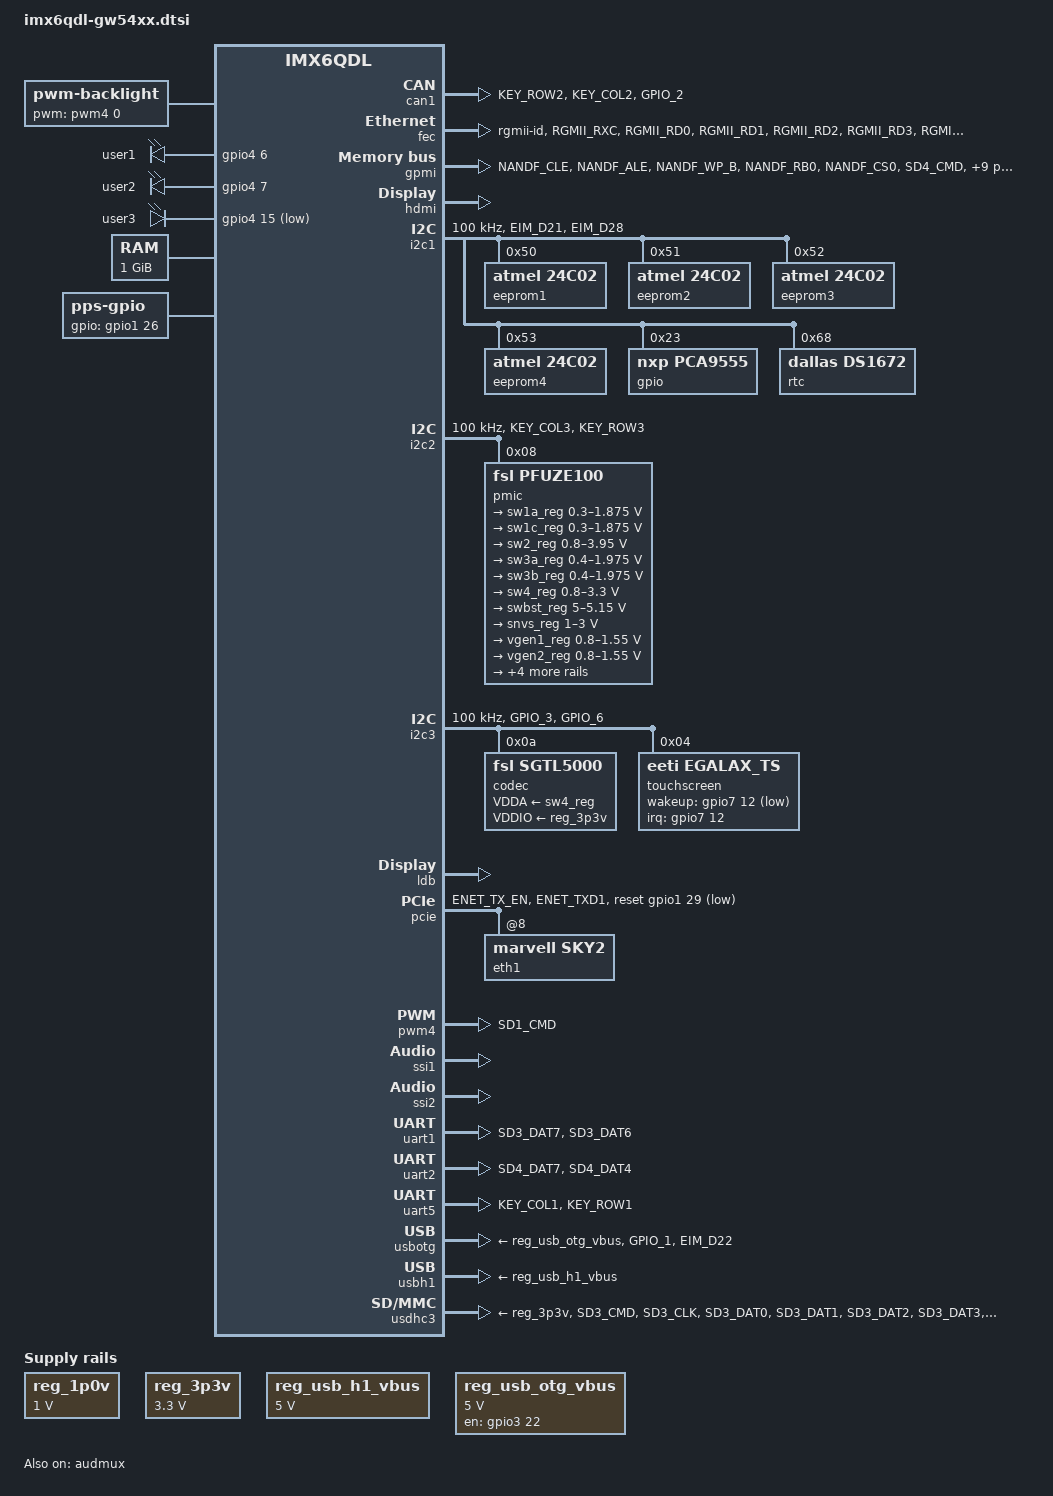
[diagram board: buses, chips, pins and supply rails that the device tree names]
/*
 * Copyright 2013 Gateworks Corporation
 *
 * The code contained herein is licensed under the GNU General Public
 * License. You may obtain a copy of the GNU General Public License
 * Version 2 or later at the following locations:
 *
 * http://www.opensource.org/licenses/gpl-license.html
 * http://www.gnu.org/copyleft/gpl.html
 */

#include <dt-bindings/gpio/gpio.h>

/ {
	/* these are used by bootloader for disabling nodes */
	aliases {
		ethernet1 = &eth1;
		led0 = &led0;
		led1 = &led1;
		led2 = &led2;
		nand = &gpmi;
		ssi0 = &ssi1;
		usb0 = &usbh1;
		usb1 = &usbotg;
	};

	chosen {
		bootargs = "console=ttymxc1,115200";
	};

	backlight {
		compatible = "pwm-backlight";
		pwms = <&pwm4 0 5000000>;
		brightness-levels = <0 4 8 16 32 64 128 255>;
		default-brightness-level = <7>;
	};

	leds {
		compatible = "gpio-leds";
		pinctrl-names = "default";
		pinctrl-0 = <&pinctrl_gpio_leds>;

		led0: user1 {
			label = "user1";
			gpios = <&gpio4 6 GPIO_ACTIVE_HIGH>; /* MX6_PANLEDG */
			default-state = "on";
			linux,default-trigger = "heartbeat";
		};

		led1: user2 {
			label = "user2";
			gpios = <&gpio4 7 GPIO_ACTIVE_HIGH>; /* MX6_PANLEDR */
			default-state = "off";
		};

		led2: user3 {
			label = "user3";
			gpios = <&gpio4 15 GPIO_ACTIVE_LOW>; /* MX6_LOCLED# */
			default-state = "off";
		};
	};

	memory {
		reg = <0x10000000 0x40000000>;
	};

	pps {
		compatible = "pps-gpio";
		pinctrl-names = "default";
		pinctrl-0 = <&pinctrl_pps>;
		gpios = <&gpio1 26 GPIO_ACTIVE_HIGH>;
		status = "okay";
	};

	regulators {
		compatible = "simple-bus";
		#address-cells = <1>;
		#size-cells = <0>;

		reg_1p0v: regulator@0 {
			compatible = "regulator-fixed";
			reg = <0>;
			regulator-name = "1P0V";
			regulator-min-microvolt = <1000000>;
			regulator-max-microvolt = <1000000>;
			regulator-always-on;
		};

		reg_3p3v: regulator@1 {
			compatible = "regulator-fixed";
			reg = <1>;
			regulator-name = "3P3V";
			regulator-min-microvolt = <3300000>;
			regulator-max-microvolt = <3300000>;
			regulator-always-on;
		};

		reg_usb_h1_vbus: regulator@2 {
			compatible = "regulator-fixed";
			reg = <2>;
			regulator-name = "usb_h1_vbus";
			regulator-min-microvolt = <5000000>;
			regulator-max-microvolt = <5000000>;
			regulator-always-on;
		};

		reg_usb_otg_vbus: regulator@3 {
			compatible = "regulator-fixed";
			reg = <3>;
			regulator-name = "usb_otg_vbus";
			regulator-min-microvolt = <5000000>;
			regulator-max-microvolt = <5000000>;
			gpio = <&gpio3 22 GPIO_ACTIVE_HIGH>;
			enable-active-high;
		};
	};

	sound {
		compatible = "fsl,imx6q-ventana-sgtl5000",
			     "fsl,imx-audio-sgtl5000";
		model = "sgtl5000-audio";
		ssi-controller = <&ssi1>;
		audio-codec = <&codec>;
		audio-routing =
			"MIC_IN", "Mic Jack",
			"Mic Jack", "Mic Bias",
			"Headphone Jack", "HP_OUT";
		mux-int-port = <1>;
		mux-ext-port = <4>;
	};
};

&audmux {
	pinctrl-names = "default";
	pinctrl-0 = <&pinctrl_audmux>; /* AUD4<->sgtl5000 */
	status = "okay";
};

&can1 {
	pinctrl-names = "default";
	pinctrl-0 = <&pinctrl_flexcan1>;
	status = "okay";
};

&clks {
	assigned-clocks = <&clks IMX6QDL_CLK_LDB_DI0_SEL>,
	                  <&clks IMX6QDL_CLK_LDB_DI1_SEL>;
	assigned-clock-parents = <&clks IMX6QDL_CLK_PLL3_USB_OTG>,
	                  <&clks IMX6QDL_CLK_PLL3_USB_OTG>;
};

&fec {
	pinctrl-names = "default";
	pinctrl-0 = <&pinctrl_enet>;
	phy-mode = "rgmii-id";
	phy-reset-gpios = <&gpio1 30 GPIO_ACTIVE_LOW>;
	status = "okay";
};

&gpmi {
	pinctrl-names = "default";
	pinctrl-0 = <&pinctrl_gpmi_nand>;
	status = "okay";
};

&hdmi {
	ddc-i2c-bus = <&i2c3>;
	status = "okay";
};

&i2c1 {
	clock-frequency = <100000>;
	pinctrl-names = "default";
	pinctrl-0 = <&pinctrl_i2c1>;
	status = "okay";

	eeprom1: eeprom@50 {
		compatible = "atmel,24c02";
		reg = <0x50>;
		pagesize = <16>;
	};

	eeprom2: eeprom@51 {
		compatible = "atmel,24c02";
		reg = <0x51>;
		pagesize = <16>;
	};

	eeprom3: eeprom@52 {
		compatible = "atmel,24c02";
		reg = <0x52>;
		pagesize = <16>;
	};

	eeprom4: eeprom@53 {
		compatible = "atmel,24c02";
		reg = <0x53>;
		pagesize = <16>;
	};

	gpio: pca9555@23 {
		compatible = "nxp,pca9555";
		reg = <0x23>;
		gpio-controller;
		#gpio-cells = <2>;
	};

	rtc: ds1672@68 {
		compatible = "dallas,ds1672";
		reg = <0x68>;
	};
};

&i2c2 {
	clock-frequency = <100000>;
	pinctrl-names = "default";
	pinctrl-0 = <&pinctrl_i2c2>;
	status = "okay";

	pmic: pfuze100@08 {
		compatible = "fsl,pfuze100";
		reg = <0x08>;

		regulators {
			sw1a_reg: sw1ab {
				regulator-min-microvolt = <300000>;
				regulator-max-microvolt = <1875000>;
				regulator-boot-on;
				regulator-always-on;
				regulator-ramp-delay = <6250>;
			};

			sw1c_reg: sw1c {
				regulator-min-microvolt = <300000>;
				regulator-max-microvolt = <1875000>;
				regulator-boot-on;
				regulator-always-on;
				regulator-ramp-delay = <6250>;
			};

			sw2_reg: sw2 {
				regulator-min-microvolt = <800000>;
				regulator-max-microvolt = <3950000>;
				regulator-boot-on;
				regulator-always-on;
			};

			sw3a_reg: sw3a {
				regulator-min-microvolt = <400000>;
				regulator-max-microvolt = <1975000>;
				regulator-boot-on;
				regulator-always-on;
			};

			sw3b_reg: sw3b {
				regulator-min-microvolt = <400000>;
				regulator-max-microvolt = <1975000>;
				regulator-boot-on;
				regulator-always-on;
			};

			sw4_reg: sw4 {
				regulator-min-microvolt = <800000>;
				regulator-max-microvolt = <3300000>;
			};

			swbst_reg: swbst {
				regulator-min-microvolt = <5000000>;
				regulator-max-microvolt = <5150000>;
				regulator-boot-on;
				regulator-always-on;
			};

			snvs_reg: vsnvs {
				regulator-min-microvolt = <1000000>;
				regulator-max-microvolt = <3000000>;
				regulator-boot-on;
				regulator-always-on;
			};

			vref_reg: vrefddr {
				regulator-boot-on;
				regulator-always-on;
			};

			vgen1_reg: vgen1 {
				regulator-min-microvolt = <800000>;
				regulator-max-microvolt = <1550000>;
			};

			vgen2_reg: vgen2 {
				regulator-min-microvolt = <800000>;
				regulator-max-microvolt = <1550000>;
			};

			vgen3_reg: vgen3 {
				regulator-min-microvolt = <1800000>;
				regulator-max-microvolt = <3300000>;
			};

			vgen4_reg: vgen4 {
				regulator-min-microvolt = <1800000>;
				regulator-max-microvolt = <3300000>;
				regulator-always-on;
			};

			vgen5_reg: vgen5 {
				regulator-min-microvolt = <1800000>;
				regulator-max-microvolt = <3300000>;
				regulator-always-on;
			};

			vgen6_reg: vgen6 {
				regulator-min-microvolt = <1800000>;
				regulator-max-microvolt = <3300000>;
				regulator-always-on;
			};
		};
	};
};

&i2c3 {
	clock-frequency = <100000>;
	pinctrl-names = "default";
	pinctrl-0 = <&pinctrl_i2c3>;
	status = "okay";

	codec: sgtl5000@0a {
		compatible = "fsl,sgtl5000";
		reg = <0x0a>;
		clocks = <&clks IMX6QDL_CLK_CKO>;
		VDDA-supply = <&sw4_reg>;
		VDDIO-supply = <&reg_3p3v>;
	};

	touchscreen: egalax_ts@04 {
		compatible = "eeti,egalax_ts";
		reg = <0x04>;
		interrupt-parent = <&gpio7>;
		interrupts = <12 2>;
		wakeup-gpios = <&gpio7 12 GPIO_ACTIVE_LOW>;
	};
};

&ldb {
	status = "okay";

	lvds-channel@0 {
		fsl,data-mapping = "spwg";
		fsl,data-width = <18>;
		status = "okay";

		display-timings {
			native-mode = <&timing0>;
			timing0: hsd100pxn1 {
				clock-frequency = <65000000>;
				hactive = <1024>;
				vactive = <768>;
				hback-porch = <220>;
				hfront-porch = <40>;
				vback-porch = <21>;
				vfront-porch = <7>;
				hsync-len = <60>;
				vsync-len = <10>;
			};
		};
	};
};

&pcie {
	pinctrl-names = "default";
	pinctrl-0 = <&pinctrl_pcie>;
	reset-gpio = <&gpio1 29 GPIO_ACTIVE_LOW>;
	status = "okay";

	eth1: sky2@8 { /* MAC/PHY on bus 8 */
		compatible = "marvell,sky2";
	};
};

&pwm1 {
	pinctrl-names = "default";
	pinctrl-0 = <&pinctrl_pwm1>; /* MX6_DIO0 */
	status = "disabled";
};

&pwm2 {
	pinctrl-names = "default";
	pinctrl-0 = <&pinctrl_pwm2>; /* MX6_DIO1 */
	status = "disabled";
};

&pwm3 {
	pinctrl-names = "default";
	pinctrl-0 = <&pinctrl_pwm3>; /* MX6_DIO2 */
	status = "disabled";
};

&pwm4 {
	pinctrl-names = "default", "state_dio";
	pinctrl-0 = <&pinctrl_pwm4_backlight>;
	pinctrl-1 = <&pinctrl_pwm4_dio>;
	status = "okay";
};

&ssi1 {
	status = "okay";
};

&ssi2 {
	status = "okay";
};

&uart1 {
	pinctrl-names = "default";
	pinctrl-0 = <&pinctrl_uart1>;
	status = "okay";
};

&uart2 {
	pinctrl-names = "default";
	pinctrl-0 = <&pinctrl_uart2>;
	status = "okay";
};

&uart5 {
	pinctrl-names = "default";
	pinctrl-0 = <&pinctrl_uart5>;
	status = "okay";
};

&usbotg {
	vbus-supply = <&reg_usb_otg_vbus>;
	pinctrl-names = "default";
	pinctrl-0 = <&pinctrl_usbotg>;
	disable-over-current;
	status = "okay";
};

&usbh1 {
	vbus-supply = <&reg_usb_h1_vbus>;
	status = "okay";
};

&usdhc3 {
	pinctrl-names = "default", "state_100mhz", "state_200mhz";
	pinctrl-0 = <&pinctrl_usdhc3>;
	pinctrl-1 = <&pinctrl_usdhc3_100mhz>;
	pinctrl-2 = <&pinctrl_usdhc3_200mhz>;
	cd-gpios = <&gpio7 0 GPIO_ACTIVE_LOW>;
	vmmc-supply = <&reg_3p3v>;
	no-1-8-v; /* firmware will remove if board revision supports */
	status = "okay";
};

&iomuxc {
	imx6qdl-gw54xx {
		pinctrl_audmux: audmuxgrp {
			fsl,pins = <
				MX6QDL_PAD_SD2_DAT0__AUD4_RXD		0x130b0
				MX6QDL_PAD_SD2_DAT3__AUD4_TXC		0x130b0
				MX6QDL_PAD_SD2_DAT2__AUD4_TXD		0x110b0
				MX6QDL_PAD_SD2_DAT1__AUD4_TXFS		0x130b0
				MX6QDL_PAD_GPIO_0__CCM_CLKO1		0x130b0 /* AUD4_MCK */
			>;
		};

		pinctrl_enet: enetgrp {
			fsl,pins = <
				MX6QDL_PAD_RGMII_RXC__RGMII_RXC		0x1b0b0
				MX6QDL_PAD_RGMII_RD0__RGMII_RD0		0x1b0b0
				MX6QDL_PAD_RGMII_RD1__RGMII_RD1		0x1b0b0
				MX6QDL_PAD_RGMII_RD2__RGMII_RD2		0x1b0b0
				MX6QDL_PAD_RGMII_RD3__RGMII_RD3		0x1b0b0
				MX6QDL_PAD_RGMII_RX_CTL__RGMII_RX_CTL	0x1b0b0
				MX6QDL_PAD_RGMII_TXC__RGMII_TXC		0x1b0b0
				MX6QDL_PAD_RGMII_TD0__RGMII_TD0		0x1b0b0
				MX6QDL_PAD_RGMII_TD1__RGMII_TD1		0x1b0b0
				MX6QDL_PAD_RGMII_TD2__RGMII_TD2		0x1b0b0
				MX6QDL_PAD_RGMII_TD3__RGMII_TD3		0x1b0b0
				MX6QDL_PAD_RGMII_TX_CTL__RGMII_TX_CTL	0x1b0b0
				MX6QDL_PAD_ENET_REF_CLK__ENET_TX_CLK	0x1b0b0
				MX6QDL_PAD_ENET_MDIO__ENET_MDIO		0x1b0b0
				MX6QDL_PAD_ENET_MDC__ENET_MDC		0x1b0b0
				MX6QDL_PAD_GPIO_16__ENET_REF_CLK	0x4001b0a8
			>;
		};

		pinctrl_flexcan1: flexcan1grp {
			fsl,pins = <
				MX6QDL_PAD_KEY_ROW2__FLEXCAN1_RX	0x1b0b1
				MX6QDL_PAD_KEY_COL2__FLEXCAN1_TX	0x1b0b1
				MX6QDL_PAD_GPIO_2__GPIO1_IO02		0x4001b0b0 /* CAN_STBY */
			>;
		};

		pinctrl_gpio_leds: gpioledsgrp {
			fsl,pins = <
				MX6QDL_PAD_KEY_COL0__GPIO4_IO06		0x1b0b0
				MX6QDL_PAD_KEY_ROW0__GPIO4_IO07		0x1b0b0
				MX6QDL_PAD_KEY_ROW4__GPIO4_IO15		0x1b0b0
			>;
		};

		pinctrl_gpmi_nand: gpminandgrp {
			fsl,pins = <
				MX6QDL_PAD_NANDF_CLE__NAND_CLE		0xb0b1
				MX6QDL_PAD_NANDF_ALE__NAND_ALE		0xb0b1
				MX6QDL_PAD_NANDF_WP_B__NAND_WP_B	0xb0b1
				MX6QDL_PAD_NANDF_RB0__NAND_READY_B	0xb000
				MX6QDL_PAD_NANDF_CS0__NAND_CE0_B	0xb0b1
				MX6QDL_PAD_SD4_CMD__NAND_RE_B		0xb0b1
				MX6QDL_PAD_SD4_CLK__NAND_WE_B		0xb0b1
				MX6QDL_PAD_NANDF_D0__NAND_DATA00	0xb0b1
				MX6QDL_PAD_NANDF_D1__NAND_DATA01	0xb0b1
				MX6QDL_PAD_NANDF_D2__NAND_DATA02	0xb0b1
				MX6QDL_PAD_NANDF_D3__NAND_DATA03	0xb0b1
				MX6QDL_PAD_NANDF_D4__NAND_DATA04	0xb0b1
				MX6QDL_PAD_NANDF_D5__NAND_DATA05	0xb0b1
				MX6QDL_PAD_NANDF_D6__NAND_DATA06	0xb0b1
				MX6QDL_PAD_NANDF_D7__NAND_DATA07	0xb0b1
			>;
		};

		pinctrl_i2c1: i2c1grp {
			fsl,pins = <
				MX6QDL_PAD_EIM_D21__I2C1_SCL		0x4001b8b1
				MX6QDL_PAD_EIM_D28__I2C1_SDA		0x4001b8b1
			>;
		};

		pinctrl_i2c2: i2c2grp {
			fsl,pins = <
				MX6QDL_PAD_KEY_COL3__I2C2_SCL		0x4001b8b1
				MX6QDL_PAD_KEY_ROW3__I2C2_SDA		0x4001b8b1
			>;
		};

		pinctrl_i2c3: i2c3grp {
			fsl,pins = <
				MX6QDL_PAD_GPIO_3__I2C3_SCL		0x4001b8b1
				MX6QDL_PAD_GPIO_6__I2C3_SDA		0x4001b8b1
			>;
		};

		pinctrl_pcie: pciegrp {
			fsl,pins = <
				MX6QDL_PAD_ENET_TX_EN__GPIO1_IO28	0x1b0b0 /* PCIE IRQ */
				MX6QDL_PAD_ENET_TXD1__GPIO1_IO29	0x1b0b0 /* PCIE RST */
			>;
		};

		pinctrl_pps: ppsgrp {
			fsl,pins = <
				MX6QDL_PAD_ENET_RXD1__GPIO1_IO26	0x1b0b1
			>;
		};

		pinctrl_pwm1: pwm1grp {
			fsl,pins = <
				MX6QDL_PAD_GPIO_9__PWM1_OUT		0x1b0b1
			>;
		};

		pinctrl_pwm2: pwm2grp {
			fsl,pins = <
				MX6QDL_PAD_SD1_DAT2__PWM2_OUT		0x1b0b1
			>;
		};

		pinctrl_pwm3: pwm3grp {
			fsl,pins = <
				MX6QDL_PAD_SD4_DAT1__PWM3_OUT		0x1b0b1
			>;
		};

		pinctrl_pwm4_backlight: pwm4grpbacklight {
			fsl,pins = <
				/* LVDS_PWM J6.5 */
				MX6QDL_PAD_SD1_CMD__PWM4_OUT		0x1b0b1
			>;
		};

		pinctrl_pwm4_dio: pwm4grpdio {
			fsl,pins = <
				/* DIO3 J16.4 */
				MX6QDL_PAD_SD4_DAT2__PWM4_OUT		0x1b0b1
			>;
		};

		pinctrl_uart1: uart1grp {
			fsl,pins = <
				MX6QDL_PAD_SD3_DAT7__UART1_TX_DATA	0x1b0b1
				MX6QDL_PAD_SD3_DAT6__UART1_RX_DATA	0x1b0b1
			>;
		};

		pinctrl_uart2: uart2grp {
			fsl,pins = <
				MX6QDL_PAD_SD4_DAT7__UART2_TX_DATA	0x1b0b1
				MX6QDL_PAD_SD4_DAT4__UART2_RX_DATA	0x1b0b1
			>;
		};

		pinctrl_uart5: uart5grp {
			fsl,pins = <
				MX6QDL_PAD_KEY_COL1__UART5_TX_DATA	0x1b0b1
				MX6QDL_PAD_KEY_ROW1__UART5_RX_DATA	0x1b0b1
			>;
		};

		pinctrl_usbotg: usbotggrp {
			fsl,pins = <
				MX6QDL_PAD_GPIO_1__USB_OTG_ID		0x17059
				MX6QDL_PAD_EIM_D22__GPIO3_IO22		0x1b0b0 /* PWR_EN */
			>;
		};

		pinctrl_usdhc3: usdhc3grp {
			fsl,pins = <
				MX6QDL_PAD_SD3_CMD__SD3_CMD		0x17059
				MX6QDL_PAD_SD3_CLK__SD3_CLK		0x10059
				MX6QDL_PAD_SD3_DAT0__SD3_DATA0		0x17059
				MX6QDL_PAD_SD3_DAT1__SD3_DATA1		0x17059
				MX6QDL_PAD_SD3_DAT2__SD3_DATA2		0x17059
				MX6QDL_PAD_SD3_DAT3__SD3_DATA3		0x17059
				MX6QDL_PAD_SD3_DAT5__GPIO7_IO00		0x17059 /* CD */
				MX6QDL_PAD_NANDF_CS1__SD3_VSELECT	0x17059
			>;
		};

		pinctrl_usdhc3_100mhz: usdhc3grp100mhz {
			fsl,pins = <
				MX6QDL_PAD_SD3_CMD__SD3_CMD		0x170b9
				MX6QDL_PAD_SD3_CLK__SD3_CLK		0x100b9
				MX6QDL_PAD_SD3_DAT0__SD3_DATA0		0x170b9
				MX6QDL_PAD_SD3_DAT1__SD3_DATA1		0x170b9
				MX6QDL_PAD_SD3_DAT2__SD3_DATA2		0x170b9
				MX6QDL_PAD_SD3_DAT3__SD3_DATA3		0x170b9
				MX6QDL_PAD_SD3_DAT5__GPIO7_IO00		0x170b9 /* CD */
				MX6QDL_PAD_NANDF_CS1__SD3_VSELECT	0x170b9
			>;
		};

		pinctrl_usdhc3_200mhz: usdhc3grp200mhz {
			fsl,pins = <
				MX6QDL_PAD_SD3_CMD__SD3_CMD		0x170f9
				MX6QDL_PAD_SD3_CLK__SD3_CLK		0x100f9
				MX6QDL_PAD_SD3_DAT0__SD3_DATA0		0x170f9
				MX6QDL_PAD_SD3_DAT1__SD3_DATA1		0x170f9
				MX6QDL_PAD_SD3_DAT2__SD3_DATA2		0x170f9
				MX6QDL_PAD_SD3_DAT3__SD3_DATA3		0x170f9
				MX6QDL_PAD_SD3_DAT5__GPIO7_IO00		0x170f9 /* CD */
				MX6QDL_PAD_NANDF_CS1__SD3_VSELECT	0x170f9
			>;
		};
	};
};
